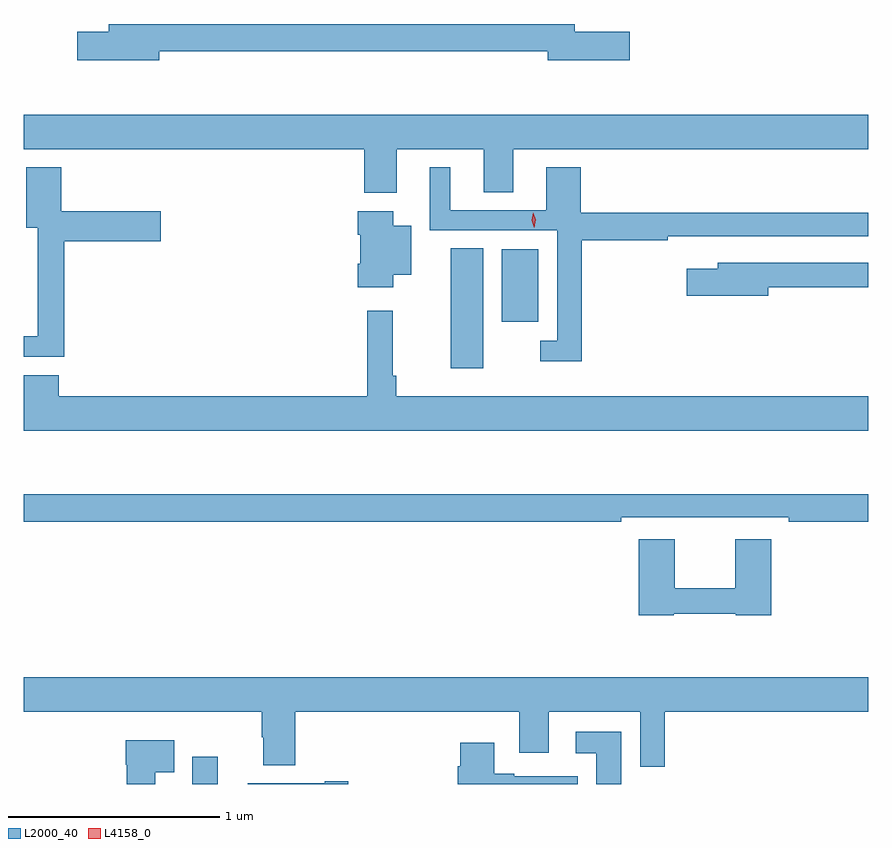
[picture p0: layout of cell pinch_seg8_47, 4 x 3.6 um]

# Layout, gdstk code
import gdstk
lib = gdstk.Library(unit=1e-6, precision=1e-09)
def R(c, l, rs):  # rectangles x0, y0, x1, y1
    for r in rs: c.add(gdstk.rectangle(r[:2], r[2:], *l))
def P(c, l, *ps):  # polygons
    for p in ps: c.add(gdstk.Polygon(p, *l))
L2000_40 = (2000, 40)
L4158_0 = (4158, 0)

pinch_seg8_47 = lib.new_cell('pinch_seg8_47')
R(pinch_seg8_47, L2000_40, [(935.777,1152.123,935.899,1152.253), (937.001,1154.091,937.156,1154.66), (937.244,1154.312,937.417,1154.656)])
P(pinch_seg8_47, L2000_40, [(935.62,1155.594),(937.46,1155.594),(937.46,1155.551),(937.849,1155.551),(937.849,1155.686),(937.588,1155.686),(937.588,1155.722),(935.381,1155.722),(935.381,1155.686),(935.232,1155.686),(935.232,1155.551),(935.62,1155.551)],
  [(936.745,1155.128),(937.157,1155.128),(937.157,1154.926),(937.297,1154.926),(937.297,1155.128),(938.979,1155.128),(938.979,1155.292),(934.979,1155.292),(934.979,1155.128),(936.593,1155.128),(936.593,1154.922),(936.745,1154.922)],
  [(937.622,1154.698),(938.03,1154.698),(938.03,1154.718),(938.979,1154.718),(938.979,1154.827),(937.616,1154.827),(937.616,1155.043),(937.454,1155.043),(937.454,1154.841),(937,1154.841),(937,1155.043),(936.902,1155.043),(936.902,1154.745),(937.506,1154.745),(937.506,1154.223),(937.425,1154.223),(937.425,1154.126),(937.622,1154.126)],
  [(935.171,1154.693),(935.629,1154.693),(935.629,1154.835),(935.158,1154.835),(935.158,1155.043),(934.991,1155.043),(934.991,1154.756),(935.045,1154.756),(935.045,1154.244),(934.979,1154.244),(934.979,1154.147),(935.171,1154.147)],
  [(936.73,1154.534),(936.814,1154.534),(936.814,1154.767),(936.73,1154.767),(936.73,1154.836),(936.56,1154.836),(936.56,1154.723),(936.572,1154.723),(936.572,1154.587),(936.56,1154.587),(936.56,1154.475),(936.73,1154.475)],
  [(938.506,1154.476),(938.979,1154.476),(938.979,1154.592),(938.267,1154.592),(938.267,1154.563),(938.118,1154.563),(938.118,1154.434),(938.506,1154.434)],
  [(938.979,1153.96),(936.743,1153.96),(936.743,1154.056),(936.728,1154.056),(936.728,1154.365),(936.607,1154.365),(936.607,1153.96),(935.144,1153.96),(935.144,1154.059),(934.979,1154.059),(934.979,1153.796),(938.979,1153.796)],
  [(937.808,1153.386),(938.602,1153.386),(938.602,1153.366),(938.979,1153.366),(938.979,1153.495),(934.979,1153.495),(934.979,1153.366),(937.808,1153.366)],
  [(938.058,1152.93),(938.352,1152.93),(938.352,1152.922),(938.519,1152.922),(938.519,1153.282),(938.348,1153.282),(938.348,1153.051),(938.062,1153.051),(938.062,1153.282),(937.892,1153.282),(937.892,1152.922),(938.058,1152.922)],
  [(934.979,1152.464),(936.106,1152.464),(936.106,1152.344),(936.113,1152.344),(936.113,1152.212),(936.266,1152.212),(936.266,1152.464),(937.325,1152.464),(937.325,1152.27),(937.465,1152.27),(937.465,1152.464),(937.899,1152.464),(937.899,1152.204),(938.015,1152.204),(938.015,1152.464),(938.979,1152.464),(938.979,1152.628),(934.979,1152.628)],
  [(937.81,1152.37),(937.593,1152.37),(937.593,1152.269),(937.691,1152.269),(937.691,1152.123),(937.81,1152.123)],
  [(935.602,1152.179),(935.692,1152.179),(935.692,1152.331),(935.462,1152.331),(935.462,1152.213),(935.468,1152.213),(935.468,1152.123),(935.602,1152.123)],
  [(937.603,1152.159),(937.303,1152.159),(937.303,1152.172),(937.207,1152.172),(937.207,1152.319),(937.046,1152.319),(937.046,1152.206),(937.034,1152.206),(937.034,1152.123),(937.603,1152.123)],
  [(936.517,1152.135),(936.404,1152.135),(936.404,1152.127),(936.041,1152.127),(936.041,1152.123),(936.517,1152.123)])
P(pinch_seg8_47, L4158_0, [(937.397,1154.757),(937.397,1154.758),(937.385,1154.793),(937.393,1154.829),(937.393,1154.829),(937.393,1154.829),(937.405,1154.794),(937.397,1154.758)])

lib.write_gds('pinch_seg8_47.gds')
